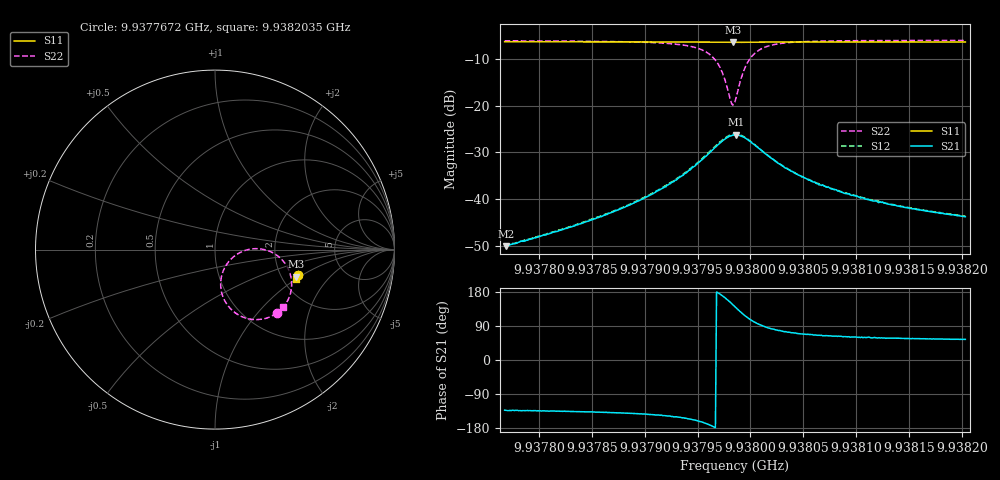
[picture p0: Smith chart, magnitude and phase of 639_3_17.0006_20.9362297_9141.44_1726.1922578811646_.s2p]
#  HZ  S  RI  R  50.00
! Rohde & Schwarz Vector Network Analyzer
! Rohde-Schwarz,ZNB20-2Port,1311601062101988,3.16
! Created: UTC 3/20/2024, 11:20:46 PM
! freq[Hz]  re:S11  im:S11  re:S21  im:S21  re:S12  im:S12  re:S22  im:S22
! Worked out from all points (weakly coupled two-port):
!   401 points, 9.9377672 GHz to 9.9382035 GHz, reference 50 ohm
!   highest |S21| = -26.24 dB at 9.9379865 GHz (marker M1); lowest = -50.1 dB at 9.9377683 GHz (marker M2)
!   lowest |S11| = -6.5 dB at 9.9379832 GHz (marker M3), VSWR 2.81, Z = 119 - j46.3 ohm
!   |S11| at or under -10 dB: nowhere
!   |S22| runs from -19.9 to -6.1 dB; largest |S21 - S12| = 0.0023
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9.93776724e9  0.4611 -0.1389  -0.00212 -0.00232  -0.00218 -0.00231  0.3444 -0.3534
9.93776833e9  0.4612 -0.1391  -0.00213 -0.0023  -0.00218 -0.00228  0.3441 -0.3534
9.93784031e9  0.459 -0.144  -0.00398 -0.00379  -0.00411 -0.00384  0.3235 -0.3662
9.93788066e9  0.4578 -0.1469  -0.00626 -0.00524  -0.00645 -0.00527  0.3011 -0.3768
9.93791338e9  0.4567 -0.1493  -0.0102 -0.00715  -0.0105 -0.00711  0.2651 -0.387
9.93794392e9  0.4547 -0.1517  -0.0194 -0.00839  -0.0201 -0.00829  0.1879 -0.3859
9.93796137e9  0.4529 -0.1527  -0.0309 -0.00461  -0.0321 -0.00433  0.097 -0.3394
9.93797118e9  0.4514 -0.1523  -0.0395 0.00421  -0.0407 0.0054  0.0408 -0.2526
9.93797555e9  0.4506 -0.1519  -0.0421 0.0112  -0.043 0.013  0.0315 -0.1908
9.937981e9  0.4505 -0.1512  -0.0419 0.0221  -0.0422 0.0243  0.0532 -0.1022
9.93798318e9  0.4504 -0.1505  -0.0401 0.027  -0.0401 0.0289  0.0745 -0.0693
9.93798536e9  0.4507 -0.1501  -0.0375 0.031  -0.0372 0.0331  0.1028 -0.0402
9.93798645e9  0.4507 -0.15  -0.036 0.0328  -0.0355 0.0348  0.1186 -0.0285
9.93799191e9  0.4515 -0.1494  -0.0261 0.0391  -0.0249 0.0408  0.2083 0.00429
9.93799518e9  0.4521 -0.1493  -0.0198 0.0404  -0.0186 0.0416  0.2602 0.00298
9.93799954e9  0.453 -0.1493  -0.0125 0.0397  -0.0111 0.0406  0.3175 -0.0152
9.93800608e9  0.4539 -0.1501  -0.00429 0.036  -0.00315 0.0365  0.3743 -0.0577
9.93802353e9  0.4546 -0.1524  0.00447 0.025  0.00518 0.0252  0.4243 -0.1585
9.93805843e9  0.4544 -0.1557  0.00603 0.0142  0.00644 0.0142  0.4192 -0.2483
9.93808897e9  0.4536 -0.1582  0.00542 0.0102  0.00575 0.0102  0.4071 -0.28
9.93813151e9  0.4523 -0.1612  0.0047 0.00745  0.00488 0.00743  0.3942 -0.3025
9.93820349e9  0.4503 -0.166  0.00377 0.00527  0.00393 0.00528  0.3802 -0.3217
